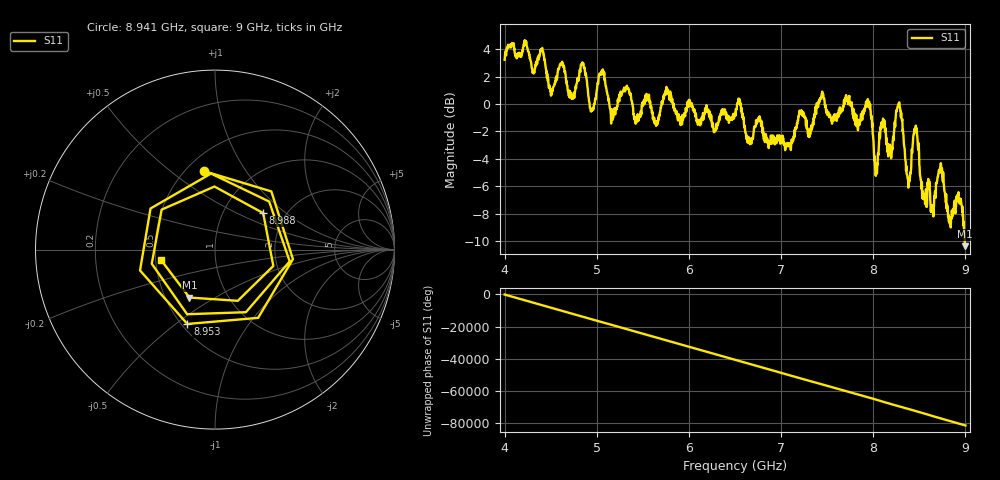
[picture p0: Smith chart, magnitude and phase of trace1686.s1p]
! Created with skrf 1.8.0 (http://scikit-rf.org).
# Hz S RI R 50.0
!freq ReS11 ImS11
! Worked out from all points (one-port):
!   1601 points, 4 GHz to 9 GHz, reference 50 ohm
!   lowest |S11| = -10.4 dB at 8.997 GHz (marker M1), VSWR 1.87, Z = 33 - j19.4 ohm
!   |S11| at or under -10 dB: 8.993522 GHz to end of sweep
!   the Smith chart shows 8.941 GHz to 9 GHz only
!   S11 on the Smith chart (normalised r, x): 8.941 GHz: 0.61, +0.67; 8.953 GHz: 0.54, -0.55; 8.988 GHz: 1.54, +0.71; 9 GHz: 0.53, -0.07
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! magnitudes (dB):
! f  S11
! 4 GHz  3.2
! 4.406 GHz  4.1
! 4.503 GHz  0.6
! 4.625 GHz  3.1
! 4.731 GHz  0.4
! 4.85 GHz  2.9
! 4.944 GHz  -0.4
! 5.05 GHz  2.2
! 5.162 GHz  -0.4
! 5.25 GHz  0.6
! 5.875 GHz  -1.0
! 6.5 GHz  -0.9
! 7.125 GHz  -2.6
! 7.434 GHz  0.5
! 7.75 GHz  0.0
! 7.947 GHz  0.0
! 8.031 GHz  -5.0
! 8.278 GHz  0.0
! 8.375 GHz  -5.5
! 8.456 GHz  -1.9
! 8.556 GHz  -6.7
! 8.725 GHz  -4.7
! 8.825 GHz  -8.2
! 8.941 GHz  -7.1
! 8.953 GHz  -7.1
! 8.988 GHz  -9.5
! 8.997 GHz  -10.4
! 9 GHz  -10.3
